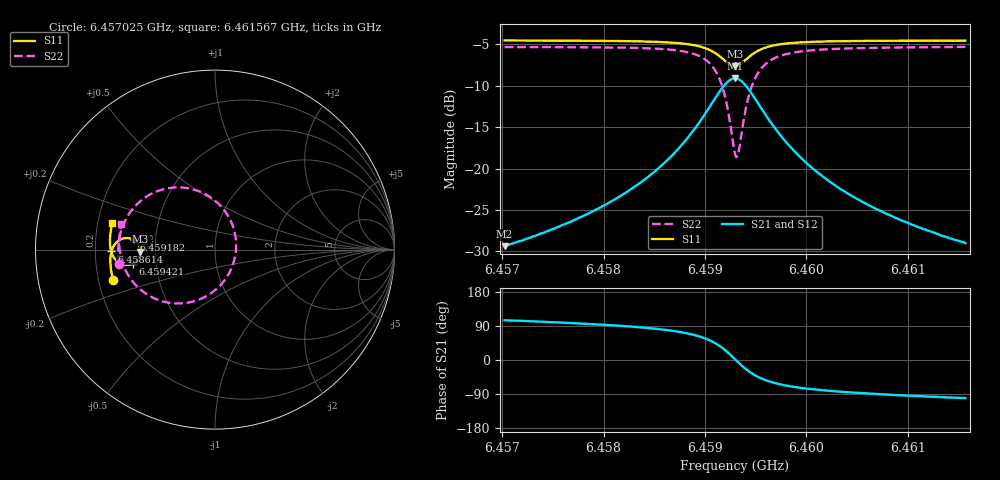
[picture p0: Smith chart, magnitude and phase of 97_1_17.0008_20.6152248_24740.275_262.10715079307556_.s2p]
#  HZ  S  RI  R  50.00
! Rohde & Schwarz Vector Network Analyzer
! Rohde-Schwarz,ZNB20-2Port,1311601062101988,3.16
! Created: UTC 3/20/2024, 10:56:22 PM
! freq[Hz]  re:S11  im:S11  re:S21  im:S21  re:S12  im:S12  re:S22  im:S22
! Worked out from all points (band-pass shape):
!   401 points, 6.457025 GHz to 6.461567 GHz, reference 50 ohm
!   highest |S21| = -9.13 dB at 6.459296 GHz (marker M1); lowest = -29.4 dB at 6.457025 GHz (marker M2)
!   |S21| within 3 dB of the highest: 6.459068 GHz to 6.459522 GHz (453.8 kHz wide, 0.00703 % of centre)
!   lowest |S11| = -7.6 dB at 6.459296 GHz (marker M3), VSWR 2.42, Z = 20.6 - j0.546 ohm
!   |S11| at or under -10 dB: nowhere
!   |S22| runs from -18.6 to -5.3 dB; largest |S21 - S12| = 0.014
!   S11 on the Smith chart (normalised r, x): 6.457025 GHz: 0.26, -0.14; 6.458614 GHz: 0.27, -0.01; 6.459182 GHz: 0.38, +0.05; 6.459421 GHz: 0.37, -0.07; 6.461567 GHz: 0.26, +0.12
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6.4570247e9  -0.5671 -0.17  -0.00878 0.0329  -0.00706 0.0328  -0.5342 -0.08
6.4577854e9  -0.5807 -0.1031  -0.00537 0.0509  -0.00288 0.0504  -0.5387 0.00991
6.4582056e9  -0.5834 -0.0608  0.000788 0.0707  0.004 0.0693  -0.5301 0.0773
6.4585462e9  -0.5795 -0.0198  0.0148 0.1  0.0188 0.0971  -0.5037 0.1549
6.4586144e9  -0.5771 -0.0101  0.0202 0.1084  0.0243 0.1051  -0.4936 0.175
6.4588074e9  -0.5644 0.0203  0.0471 0.1395  0.0513 0.1347  -0.4429 0.2444
6.458955e9  -0.5412 0.0468  0.0931 0.1703  0.0963 0.1636  -0.3581 0.3088
6.4590913e9  -0.4968 0.0642  0.1816 0.1867  0.1825 0.1793  -0.1969 0.3466
6.4591821e9  -0.4515 0.0535  0.2725 0.1548  0.2727 0.1489  -0.0289 0.2941
6.4592502e9  -0.4221 0.0208  0.3333 0.0814  0.3354 0.0762  0.0866 0.1622
6.4592957e9  -0.4154 -0.0109  0.3495 0.0125  0.3532 0.00572  0.1179 0.0335
6.459307e9  -0.4157 -0.019  0.349 -0.00529  0.353 -0.0129  0.1171 -0.000543
6.4593297e9  -0.4193 -0.0348  0.3431 -0.0403  0.3472 -0.0495  0.1052 -0.0669
6.4593751e9  -0.4353 -0.0613  0.3139 -0.1006  0.3163 -0.1127  0.0458 -0.1805
6.4594206e9  -0.4576 -0.0778  0.2713 -0.1419  0.2703 -0.1552  -0.0406 -0.2552
6.4595114e9  -0.5016 -0.0848  0.1854 -0.1728  0.1792 -0.1844  -0.2111 -0.3001
6.459659e9  -0.5459 -0.0643  0.0967 -0.1585  0.0884 -0.1647  -0.3796 -0.2492
6.459818e9  -0.5677 -0.0366  0.0518 -0.1301  0.044 -0.1329  -0.4599 -0.1764
6.4600564e9  -0.5807 -0.00115  0.0225 -0.0982  0.0165 -0.0989  -0.5079 -0.0934
6.4603971e9  -0.5854 0.0397  0.00625 -0.071  0.00219 -0.0706  -0.5294 -0.0141
6.4608172e9  -0.5837 0.0822  -0.0015 -0.0525  -0.00433 -0.0516  -0.5333 0.054
6.4615666e9  -0.572 0.1487  -0.00662 -0.0348  -0.00825 -0.034  -0.5221 0.1431
